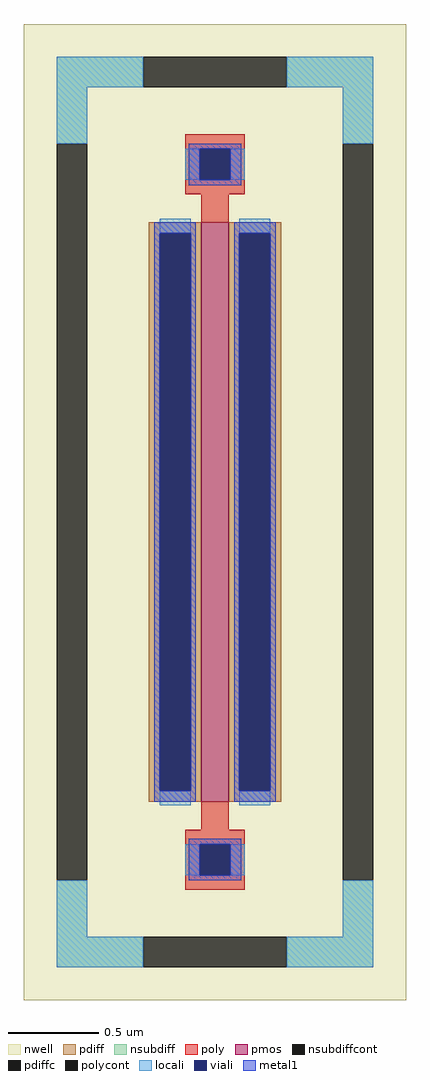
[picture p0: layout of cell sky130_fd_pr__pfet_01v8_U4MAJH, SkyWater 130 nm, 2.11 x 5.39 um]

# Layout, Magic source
magic
tech sky130A
magscale 1 2
<< nwell >>
rect -211 -539 211 539
<< pmos >>
rect -15 -320 15 320
<< pdiff >>
rect -73 308 -15 320
rect -73 -308 -61 308
rect -27 -308 -15 308
rect -73 -320 -15 -308
rect 15 308 73 320
rect 15 -308 27 308
rect 61 -308 73 308
rect 15 -320 73 -308
<< pdiffc >>
rect -61 -308 -27 308
rect 27 -308 61 308
<< nsubdiff >>
rect -175 469 -79 503
rect 79 469 175 503
rect -175 407 -141 469
rect 141 407 175 469
rect -175 -469 -141 -407
rect 141 -469 175 -407
rect -175 -503 -79 -469
rect 79 -503 175 -469
<< nsubdiffcont >>
rect -79 469 79 503
rect -175 -407 -141 407
rect 141 -407 175 407
rect -79 -503 79 -469
<< poly >>
rect -33 401 33 417
rect -33 367 -17 401
rect 17 367 33 401
rect -33 351 33 367
rect -15 320 15 351
rect -15 -351 15 -320
rect -33 -367 33 -351
rect -33 -401 -17 -367
rect 17 -401 33 -367
rect -33 -417 33 -401
<< polycont >>
rect -17 367 17 401
rect -17 -401 17 -367
<< locali >>
rect -175 469 -79 503
rect 79 469 175 503
rect -175 407 -141 469
rect 141 407 175 469
rect -33 367 -17 401
rect 17 367 33 401
rect -61 308 -27 324
rect -61 -324 -27 -308
rect 27 308 61 324
rect 27 -324 61 -308
rect -33 -401 -17 -367
rect 17 -401 33 -367
rect -175 -469 -141 -407
rect 141 -469 175 -407
rect -175 -503 -79 -469
rect 79 -503 175 -469
<< viali >>
rect -17 367 17 401
rect -61 -308 -27 308
rect 27 -308 61 308
rect -17 -401 17 -367
<< metal1 >>
rect -29 401 29 407
rect -29 367 -17 401
rect 17 367 29 401
rect -29 361 29 367
rect -67 308 -21 320
rect -67 -308 -61 308
rect -27 -308 -21 308
rect -67 -320 -21 -308
rect 21 308 67 320
rect 21 -308 27 308
rect 61 -308 67 308
rect 21 -320 67 -308
rect -29 -367 29 -361
rect -29 -401 -17 -367
rect 17 -401 29 -367
rect -29 -407 29 -401
<< properties >>
string FIXED_BBOX -158 -486 158 486
string gencell sky130_fd_pr__pfet_01v8
string library sky130
string parameters w 3.2 l 0.15 m 1 nf 1 diffcov 100 polycov 100 guard 1 glc 1 grc 1 gtc 1 gbc 1 tbcov 100 rlcov 100 topc 1 botc 1 poverlap 0 doverlap 1 lmin 0.15 wmin 0.42 compatible {sky130_fd_pr__pfet_01v8  sky130_fd_pr__pfet_01v8_lvt sky130_fd_pr__pfet_01v8_hvt  sky130_fd_pr__pfet_g5v0d10v5} full_metal 1 viasrc 100 viadrn 100 viagate 100 viagb 0 viagr 0 viagl 0 viagt 0
<< end >>
